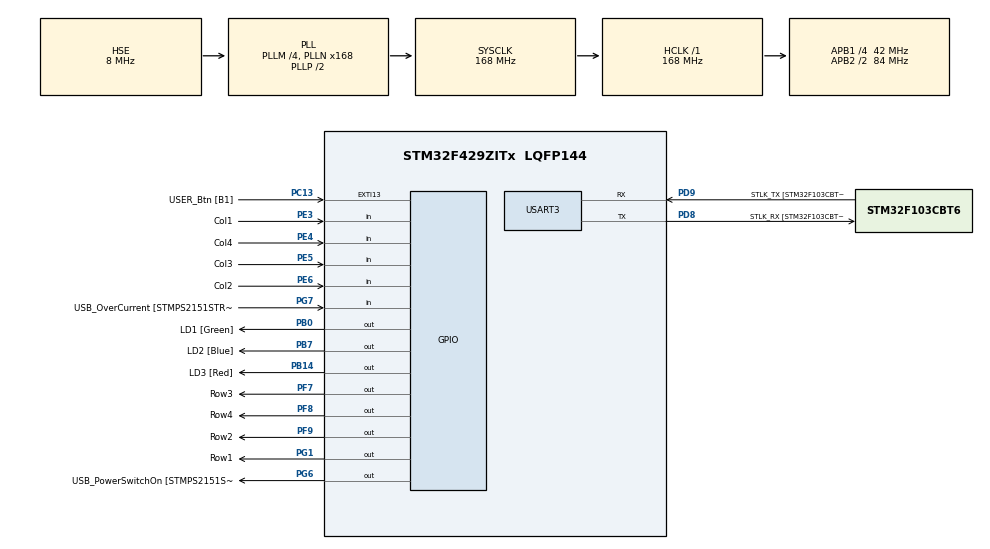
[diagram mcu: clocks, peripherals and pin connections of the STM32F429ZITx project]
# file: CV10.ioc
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Mcu.Family=STM32F4
Mcu.Name=STM32F429ZITx
Mcu.Package=LQFP144
NVIC.PriorityGroup=NVIC_PRIORITYGROUP_4
NVIC.TIM3_IRQn=true\:0\:0\:false\:false\:true\:true\:true\:true
PA1.GPIO_Label=RMII_REF_CLK [LAN8742A-CZ-TR_REFCLK0]
PA1.Signal=ETH_REF_CLK
PA10.GPIO_Label=USB_ID
PA10.Signal=USB_OTG_FS_ID
PA11.GPIO_Label=USB_DM
PA11.Signal=USB_OTG_FS_DM
PA12.GPIO_Label=USB_DP
PA12.Signal=USB_OTG_FS_DP
PA13.GPIO_Label=TMS
PA13.Mode=Serial_Wire
PA13.Signal=SYS_JTMS-SWDIO
PA14.GPIO_Label=TCK
PA14.Mode=Serial_Wire
PA14.Signal=SYS_JTCK-SWCLK
PA2.GPIO_Label=RMII_MDIO [LAN8742A-CZ-TR_MDIO]
PA2.Signal=ETH_MDIO
PA7.GPIO_Label=RMII_CRS_DV [LAN8742A-CZ-TR_CRS_DV]
PA7.Signal=ETH_CRS_DV
PA8.GPIO_Label=USB_SOF [TP1]
PA8.Signal=USB_OTG_FS_SOF
PA9.GPIO_Label=USB_VBUS
PA9.Signal=USB_OTG_FS_VBUS
PB0.GPIO_Label=LD1 [Green]
PB0.Signal=GPIO_Output
PB13.GPIO_Label=RMII_TXD1 [LAN8742A-CZ-TR_TXD1]
PB13.Signal=ETH_TXD1
PB14.GPIO_Label=LD3 [Red]
PB14.Signal=GPIO_Output
PB7.GPIO_Label=LD2 [Blue]
PB7.Signal=GPIO_Output
PC1.GPIO_Label=RMII_MDC [LAN8742A-CZ-TR_MDC]
PC1.Signal=ETH_MDC
PC13.GPIO_Label=USER_Btn [B1]
PC13.Signal=GPXTI13
PC14/OSC32_IN.Mode=LSE-External-Oscillator
PC14/OSC32_IN.Signal=RCC_OSC32_IN
PC15/OSC32_OUT.Mode=LSE-External-Oscillator
PC15/OSC32_OUT.Signal=RCC_OSC32_OUT
PC4.GPIO_Label=RMII_RXD0 [LAN8742A-CZ-TR_RXD0]
PC4.Signal=ETH_RXD0
PC5.GPIO_Label=RMII_RXD1 [LAN8742A-CZ-TR_RXD1]
PC5.Signal=ETH_RXD1
PD8.GPIO_Label=STLK_RX [STM32F103CBT6_PA3]
PD8.Mode=Asynchronous
PD8.Signal=USART3_TX
PD9.GPIO_Label=STLK_TX [STM32F103CBT6_PA2]
PD9.Mode=Asynchronous
PD9.Signal=USART3_RX
PE3.GPIO_Label=Col1
PE3.GPIO_PuPd=GPIO_PULLUP
PE3.Signal=GPIO_Input
PE4.GPIO_Label=Col4
PE4.GPIO_PuPd=GPIO_PULLUP
PE4.Signal=GPIO_Input
PE5.GPIO_Label=Col3
PE5.GPIO_PuPd=GPIO_PULLUP
PE5.Signal=GPIO_Input
PE6.GPIO_Label=Col2
PE6.GPIO_PuPd=GPIO_PULLUP
PE6.Signal=GPIO_Input
PF7.GPIO_Label=Row3
PF7.GPIO_ModeDefaultOutputPP=GPIO_MODE_OUTPUT_OD
PF7.GPIO_PuPd=GPIO_NOPULL
PF7.Signal=GPIO_Output
PF8.GPIO_Label=Row4
PF8.GPIO_ModeDefaultOutputPP=GPIO_MODE_OUTPUT_OD
PF8.GPIO_PuPd=GPIO_NOPULL
PF8.Signal=GPIO_Output
PF9.GPIO_Label=Row2
PF9.GPIO_ModeDefaultOutputPP=GPIO_MODE_OUTPUT_OD
PF9.GPIO_PuPd=GPIO_NOPULL
PF9.Signal=GPIO_Output
PG1.GPIO_Label=Row1
PG1.GPIO_ModeDefaultOutputPP=GPIO_MODE_OUTPUT_OD
PG1.GPIO_PuPd=GPIO_NOPULL
PG1.Signal=GPIO_Output
PG11.GPIO_Label=RMII_TX_EN [LAN8742A-CZ-TR_TXEN]
PG11.Signal=ETH_TX_EN
PG13.GPIO_Label=RMII_TXD0 [LAN8742A-CZ-TR_TXD0]
PG13.Signal=ETH_TXD0
PG6.GPIO_Label=USB_PowerSwitchOn [STMPS2151STR_EN]
PG6.Signal=GPIO_Output
PG7.GPIO_Label=USB_OverCurrent [STMPS2151STR_FAULT]
PG7.Signal=GPIO_Input
PH0/OSC_IN.GPIO_Label=MCO [STM32F103CBT6_PA8]
PH0/OSC_IN.Mode=HSE-External-Clock-Source
PH0/OSC_IN.Signal=RCC_OSC_IN
PH1/OSC_OUT.Mode=HSE-External-Clock-Source
PH1/OSC_OUT.Signal=RCC_OSC_OUT
ProjectManager.HeapSize=0x200
ProjectManager.StackSize=0x400
ProjectManager.TargetToolchain=STM32CubeIDE
RCC.48MHZClocksFreq_Value=48000000
RCC.AHBFreq_Value=168000000
RCC.APB1CLKDivider=RCC_HCLK_DIV4
RCC.APB1Freq_Value=42000000
RCC.APB1TimFreq_Value=84000000
RCC.APB2CLKDivider=RCC_HCLK_DIV2
RCC.APB2Freq_Value=84000000
RCC.APB2TimCLKDivider=2
RCC.APB2TimFreq_Value=168000000
RCC.CortexFreq_Value=168000000
RCC.HCLKFreq_Value=168000000
RCC.HSE_VALUE=8000000
RCC.HSI_VALUE=16000000
RCC.PLLM=4
RCC.PLLMUL=RCC_PLL_MUL9
RCC.PLLN=168
RCC.PLLQ=7
RCC.PLLSourceVirtual=RCC_PLLSOURCE_HSE
RCC.PRESCALERUSB=RCC_USBCLKSOURCE_PLL_DIV1_5
RCC.SYSCLKFreq_VALUE=168000000
RCC.SYSCLKSource=RCC_SYSCLKSOURCE_PLLCLK
RCC.SYSCLKSourceVirtual=RCC_SYSCLKSOURCE_PLLCLK
RCC.USBFreq_Value=48000000
RCC.VCOOutputFreq_Value=336000000
TIM3.Period=100
TIM3.Prescaler=8400
USART3.VirtualMode=VM_ASYNC
VP_TIM3_VS_ClockSourceINT.Mode=Internal
board=NUCLEO-F429ZI

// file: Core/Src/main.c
/* USER CODE BEGIN Header */
/**
 ******************************************************************************
 * @file           : main.c
 * @brief          : Main program body
 ******************************************************************************
 * @attention
 *
 * Copyright (c) 2023 STMicroelectronics.
 * All rights reserved.
 *
 * This software is licensed under terms that can be found in the LICENSE file
 * in the root directory of this software component.
 * If no LICENSE file comes with this software, it is provided AS-IS.
 *
 ******************************************************************************
 */
/* USER CODE END Header */
#include "main.h"

/* USER CODE BEGIN Includes */
#include <stdio.h>
/* USER CODE END Includes */

TIM_HandleTypeDef htim3;

UART_HandleTypeDef huart3;

/* USER CODE BEGIN PV */
volatile int key = -1;
/* USER CODE END PV */

void SystemClock_Config(void);
static void MX_GPIO_Init(void);
static void MX_USART3_UART_Init(void);
static void MX_TIM3_Init(void);

/* USER CODE BEGIN 0 */
int __io_putchar(int ch) {
	ITM_SendChar(ch);
	return 0;
}
/* USER CODE END 0 */

int main(void) {

	/* MCU Configuration--------------------------------------------------------*/

	/* Reset of all peripherals, Initializes the Flash interface and the Systick. */
	HAL_Init();

	/* Configure the system clock */
	SystemClock_Config();

	/* Initialize all configured peripherals */
	MX_GPIO_Init();
	MX_USART3_UART_Init();
	MX_TIM3_Init();
	/* USER CODE BEGIN 2 */
	HAL_TIM_Base_Start_IT(&htim3);
	printf("Start\n");
	/* USER CODE END 2 */

	/* Infinite loop */
	while (1) {

		/* USER CODE BEGIN 3 */

		static uint8_t code[5] = { 7, 9, 3, 2, 12 }; //7932#
		static uint8_t pos = 0;
		static uint32_t delay = 0;

		HAL_Delay(500);

		if (key != -1) {
			if (key == code[pos]) {
				printf("Input: %d -> Position: %d\n", key, pos);
				pos++;
				delay = HAL_GetTick();

				if (pos == sizeof(code)) {
					HAL_GPIO_WritePin(LD1_GPIO_Port, LD1_Pin, GPIO_PIN_SET);
					printf("Input OK\n");
					HAL_Delay(250);
					HAL_GPIO_WritePin(LD1_GPIO_Port, LD1_Pin, GPIO_PIN_RESET);
					pos = 0;
				}
			} else {
				pos = 0;
			}
		HAL_Delay(250);
		key = -1;
		}

		if (HAL_GetTick() - delay >= 3000 && pos != 0) {
			printf("Timeot!\n");
			pos = 0;
		}
	}
	/* USER CODE END 3 */
}
void SystemClock_Config(void) {
	RCC_OscInitTypeDef RCC_OscInitStruct = { 0 };
	RCC_ClkInitTypeDef RCC_ClkInitStruct = { 0 };

	/** Configure the main internal regulator output voltage
	 */
	__HAL_RCC_PWR_CLK_ENABLE();
	__HAL_PWR_VOLTAGESCALING_CONFIG(PWR_REGULATOR_VOLTAGE_SCALE1);

	/** Initializes the RCC Oscillators according to the specified parameters
	 * in the RCC_OscInitTypeDef structure.
	 */
	RCC_OscInitStruct.OscillatorType = RCC_OSCILLATORTYPE_HSE;
	RCC_OscInitStruct.HSEState = RCC_HSE_BYPASS;
	RCC_OscInitStruct.PLL.PLLState = RCC_PLL_ON;
	RCC_OscInitStruct.PLL.PLLSource = RCC_PLLSOURCE_HSE;
	RCC_OscInitStruct.PLL.PLLM = 4;
	RCC_OscInitStruct.PLL.PLLN = 168;
	RCC_OscInitStruct.PLL.PLLP = RCC_PLLP_DIV2;
	RCC_OscInitStruct.PLL.PLLQ = 7;
	if (HAL_RCC_OscConfig(&RCC_OscInitStruct) != HAL_OK) {
		Error_Handler();
	}

	/** Initializes the CPU, AHB and APB buses clocks
	 */
	RCC_ClkInitStruct.ClockType = RCC_CLOCKTYPE_HCLK | RCC_CLOCKTYPE_SYSCLK
			| RCC_CLOCKTYPE_PCLK1 | RCC_CLOCKTYPE_PCLK2;
	RCC_ClkInitStruct.SYSCLKSource = RCC_SYSCLKSOURCE_PLLCLK;
	RCC_ClkInitStruct.AHBCLKDivider = RCC_SYSCLK_DIV1;
	RCC_ClkInitStruct.APB1CLKDivider = RCC_HCLK_DIV4;
	RCC_ClkInitStruct.APB2CLKDivider = RCC_HCLK_DIV2;

	if (HAL_RCC_ClockConfig(&RCC_ClkInitStruct, FLASH_LATENCY_5) != HAL_OK) {
		Error_Handler();
	}
}

static void MX_TIM3_Init(void) {

	TIM_ClockConfigTypeDef sClockSourceConfig = { 0 };
	TIM_MasterConfigTypeDef sMasterConfig = { 0 };

	htim3.Instance = TIM3;
	htim3.Init.Prescaler = 8400;
	htim3.Init.CounterMode = TIM_COUNTERMODE_UP;
	htim3.Init.Period = 100;
	htim3.Init.ClockDivision = TIM_CLOCKDIVISION_DIV1;
	htim3.Init.AutoReloadPreload = TIM_AUTORELOAD_PRELOAD_DISABLE;
	if (HAL_TIM_Base_Init(&htim3) != HAL_OK) {
		Error_Handler();
	}
	sClockSourceConfig.ClockSource = TIM_CLOCKSOURCE_INTERNAL;
	if (HAL_TIM_ConfigClockSource(&htim3, &sClockSourceConfig) != HAL_OK) {
		Error_Handler();
	}
	sMasterConfig.MasterOutputTrigger = TIM_TRGO_RESET;
	sMasterConfig.MasterSlaveMode = TIM_MASTERSLAVEMODE_DISABLE;
	if (HAL_TIMEx_MasterConfigSynchronization(&htim3, &sMasterConfig)
			!= HAL_OK) {
		Error_Handler();
	}

}

static void MX_USART3_UART_Init(void) {

	huart3.Instance = USART3;
	huart3.Init.BaudRate = 115200;
	huart3.Init.WordLength = UART_WORDLENGTH_8B;
	huart3.Init.StopBits = UART_STOPBITS_1;
	huart3.Init.Parity = UART_PARITY_NONE;
	huart3.Init.Mode = UART_MODE_TX_RX;
	huart3.Init.HwFlowCtl = UART_HWCONTROL_NONE;
	huart3.Init.OverSampling = UART_OVERSAMPLING_16;
	if (HAL_UART_Init(&huart3) != HAL_OK) {
		Error_Handler();
	}

}

static void MX_GPIO_Init(void) {
	GPIO_InitTypeDef GPIO_InitStruct = { 0 };

	/* GPIO Ports Clock Enable */
	__HAL_RCC_GPIOE_CLK_ENABLE();
	__HAL_RCC_GPIOC_CLK_ENABLE();
	__HAL_RCC_GPIOF_CLK_ENABLE();
	__HAL_RCC_GPIOH_CLK_ENABLE();
	__HAL_RCC_GPIOA_CLK_ENABLE();
	__HAL_RCC_GPIOB_CLK_ENABLE();
	__HAL_RCC_GPIOG_CLK_ENABLE();
	__HAL_RCC_GPIOD_CLK_ENABLE();

	/*Configure GPIO pin Output Level */
	HAL_GPIO_WritePin(GPIOF, Row3_Pin | Row4_Pin | Row2_Pin, GPIO_PIN_RESET);

	/*Configure GPIO pin Output Level */
	HAL_GPIO_WritePin(GPIOB, LD1_Pin | LD3_Pin | LD2_Pin, GPIO_PIN_RESET);

	/*Configure GPIO pin Output Level */
	HAL_GPIO_WritePin(GPIOG, Row1_Pin | USB_PowerSwitchOn_Pin, GPIO_PIN_RESET);

	/*Configure GPIO pins : Col1_Pin Col4_Pin Col3_Pin Col2_Pin */
	GPIO_InitStruct.Pin = Col1_Pin | Col4_Pin | Col3_Pin | Col2_Pin;
	GPIO_InitStruct.Mode = GPIO_MODE_INPUT;
	GPIO_InitStruct.Pull = GPIO_PULLUP;
	HAL_GPIO_Init(GPIOE, &GPIO_InitStruct);

	/*Configure GPIO pin : USER_Btn_Pin */
	GPIO_InitStruct.Pin = USER_Btn_Pin;
	GPIO_InitStruct.Mode = GPIO_MODE_IT_RISING;
	GPIO_InitStruct.Pull = GPIO_NOPULL;
	HAL_GPIO_Init(USER_Btn_GPIO_Port, &GPIO_InitStruct);

	/*Configure GPIO pins : Row3_Pin Row4_Pin Row2_Pin */
	GPIO_InitStruct.Pin = Row3_Pin | Row4_Pin | Row2_Pin;
	GPIO_InitStruct.Mode = GPIO_MODE_OUTPUT_OD;
	GPIO_InitStruct.Pull = GPIO_NOPULL;
	GPIO_InitStruct.Speed = GPIO_SPEED_FREQ_LOW;
	HAL_GPIO_Init(GPIOF, &GPIO_InitStruct);

	/*Configure GPIO pins : RMII_MDC_Pin RMII_RXD0_Pin RMII_RXD1_Pin */
	GPIO_InitStruct.Pin = RMII_MDC_Pin | RMII_RXD0_Pin | RMII_RXD1_Pin;
	GPIO_InitStruct.Mode = GPIO_MODE_AF_PP;
	GPIO_InitStruct.Pull = GPIO_NOPULL;
	GPIO_InitStruct.Speed = GPIO_SPEED_FREQ_VERY_HIGH;
	GPIO_InitStruct.Alternate = GPIO_AF11_ETH;
	HAL_GPIO_Init(GPIOC, &GPIO_InitStruct);

	/*Configure GPIO pins : RMII_REF_CLK_Pin RMII_MDIO_Pin RMII_CRS_DV_Pin */
	GPIO_InitStruct.Pin =
	RMII_REF_CLK_Pin | RMII_MDIO_Pin | RMII_CRS_DV_Pin;
	GPIO_InitStruct.Mode = GPIO_MODE_AF_PP;
	GPIO_InitStruct.Pull = GPIO_NOPULL;
	GPIO_InitStruct.Speed = GPIO_SPEED_FREQ_VERY_HIGH;
	GPIO_InitStruct.Alternate = GPIO_AF11_ETH;
	HAL_GPIO_Init(GPIOA, &GPIO_InitStruct);

	/*Configure GPIO pins : LD1_Pin LD3_Pin LD2_Pin */
	GPIO_InitStruct.Pin = LD1_Pin | LD3_Pin | LD2_Pin;
	GPIO_InitStruct.Mode = GPIO_MODE_OUTPUT_PP;
	GPIO_InitStruct.Pull = GPIO_NOPULL;
	GPIO_InitStruct.Speed = GPIO_SPEED_FREQ_LOW;
	HAL_GPIO_Init(GPIOB, &GPIO_InitStruct);

	/*Configure GPIO pin : Row1_Pin */
	GPIO_InitStruct.Pin = Row1_Pin;
	GPIO_InitStruct.Mode = GPIO_MODE_OUTPUT_OD;
	GPIO_InitStruct.Pull = GPIO_NOPULL;
	GPIO_InitStruct.Speed = GPIO_SPEED_FREQ_LOW;
	HAL_GPIO_Init(Row1_GPIO_Port, &GPIO_InitStruct);

	/*Configure GPIO pin : RMII_TXD1_Pin */
	GPIO_InitStruct.Pin = RMII_TXD1_Pin;
	GPIO_InitStruct.Mode = GPIO_MODE_AF_PP;
	GPIO_InitStruct.Pull = GPIO_NOPULL;
	GPIO_InitStruct.Speed = GPIO_SPEED_FREQ_VERY_HIGH;
	GPIO_InitStruct.Alternate = GPIO_AF11_ETH;
	HAL_GPIO_Init(RMII_TXD1_GPIO_Port, &GPIO_InitStruct);

	/*Configure GPIO pin : USB_PowerSwitchOn_Pin */
	GPIO_InitStruct.Pin = USB_PowerSwitchOn_Pin;
	GPIO_InitStruct.Mode = GPIO_MODE_OUTPUT_PP;
	GPIO_InitStruct.Pull = GPIO_NOPULL;
	GPIO_InitStruct.Speed = GPIO_SPEED_FREQ_LOW;
	HAL_GPIO_Init(USB_PowerSwitchOn_GPIO_Port, &GPIO_InitStruct);

	/*Configure GPIO pin : USB_OverCurrent_Pin */
	GPIO_InitStruct.Pin = USB_OverCurrent_Pin;
	GPIO_InitStruct.Mode = GPIO_MODE_INPUT;
	GPIO_InitStruct.Pull = GPIO_NOPULL;
	HAL_GPIO_Init(USB_OverCurrent_GPIO_Port, &GPIO_InitStruct);

	/*Configure GPIO pins : USB_SOF_Pin USB_ID_Pin USB_DM_Pin USB_DP_Pin */
	GPIO_InitStruct.Pin =
	USB_SOF_Pin | USB_ID_Pin | USB_DM_Pin | USB_DP_Pin;
	GPIO_InitStruct.Mode = GPIO_MODE_AF_PP;
	GPIO_InitStruct.Pull = GPIO_NOPULL;
	GPIO_InitStruct.Speed = GPIO_SPEED_FREQ_VERY_HIGH;
	GPIO_InitStruct.Alternate = GPIO_AF10_OTG_FS;
	HAL_GPIO_Init(GPIOA, &GPIO_InitStruct);

	/*Configure GPIO pin : USB_VBUS_Pin */
	GPIO_InitStruct.Pin = USB_VBUS_Pin;
	GPIO_InitStruct.Mode = GPIO_MODE_INPUT;
	GPIO_InitStruct.Pull = GPIO_NOPULL;
	HAL_GPIO_Init(USB_VBUS_GPIO_Port, &GPIO_InitStruct);

	/*Configure GPIO pins : RMII_TX_EN_Pin RMII_TXD0_Pin */
	GPIO_InitStruct.Pin = RMII_TX_EN_Pin | RMII_TXD0_Pin;
	GPIO_InitStruct.Mode = GPIO_MODE_AF_PP;
	GPIO_InitStruct.Pull = GPIO_NOPULL;
	GPIO_InitStruct.Speed = GPIO_SPEED_FREQ_VERY_HIGH;
	GPIO_InitStruct.Alternate = GPIO_AF11_ETH;
	HAL_GPIO_Init(GPIOG, &GPIO_InitStruct);

}

/* USER CODE BEGIN 4 */
void HAL_TIM_PeriodElapsedCallback(TIM_HandleTypeDef *htim) {
	static int row = 0;
	static const int keyboard[4][4] = { { 1, 2, 3, 21 }, { 4, 5, 6, 22 }, { 7,
			8, 9, 23 }, { 11, 0, 12, 24 }, };
	if (key == -1) {
		if (HAL_GPIO_ReadPin(Col1_GPIO_Port, Col1_Pin) == GPIO_PIN_RESET)
			key = keyboard[row][0];
		if (HAL_GPIO_ReadPin(Col2_GPIO_Port, Col2_Pin) == GPIO_PIN_RESET)
			key = keyboard[row][1];
		if (HAL_GPIO_ReadPin(Col3_GPIO_Port, Col3_Pin) == GPIO_PIN_RESET)
			key = keyboard[row][2];
		if (HAL_GPIO_ReadPin(Col4_GPIO_Port, Col4_Pin) == GPIO_PIN_RESET)
			key = keyboard[row][3];
	}
	HAL_GPIO_WritePin(Row1_GPIO_Port, Row1_Pin, GPIO_PIN_SET);
	HAL_GPIO_WritePin(Row2_GPIO_Port, Row2_Pin, GPIO_PIN_SET);
	HAL_GPIO_WritePin(Row3_GPIO_Port, Row3_Pin, GPIO_PIN_SET);
	HAL_GPIO_WritePin(Row4_GPIO_Port, Row4_Pin, GPIO_PIN_SET);
	switch (row) {
	case 0:
		row = 1;
		HAL_GPIO_WritePin(Row2_GPIO_Port, Row2_Pin, GPIO_PIN_RESET);
		break;
	case 1:
		row = 2;
		HAL_GPIO_WritePin(Row3_GPIO_Port, Row3_Pin, GPIO_PIN_RESET);
		break;
	case 2:
		row = 3;
		HAL_GPIO_WritePin(Row4_GPIO_Port, Row4_Pin, GPIO_PIN_RESET);
		break;
	case 3:
		row = 0;
		HAL_GPIO_WritePin(Row1_GPIO_Port, Row1_Pin, GPIO_PIN_RESET);
		break;
	}
}
/* USER CODE END 4 */

void Error_Handler(void) {
	__disable_irq();
	while (1) {
	}
}
